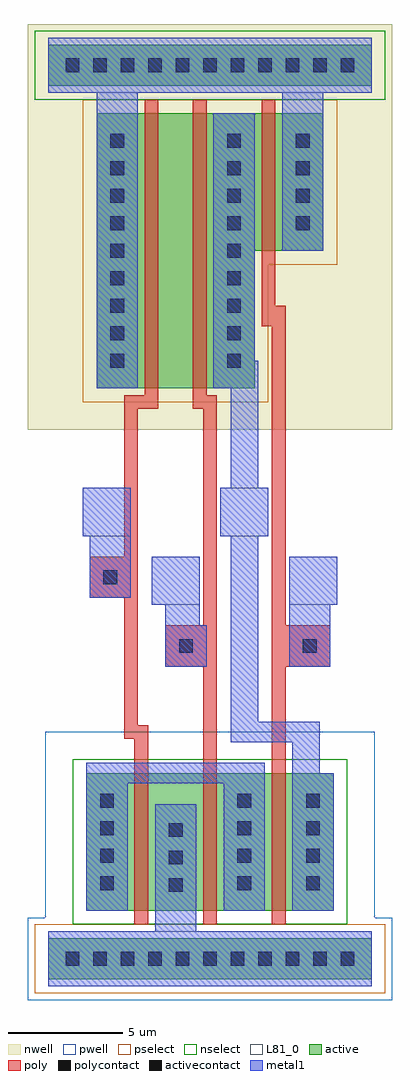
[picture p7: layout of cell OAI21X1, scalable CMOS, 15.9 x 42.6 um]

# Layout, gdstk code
import gdstk
lib = gdstk.Library(unit=1e-6, precision=1e-09)
def R(c, l, rs):  # rectangles x0, y0, x1, y1
    for r in rs: c.add(gdstk.rectangle(r[:2], r[2:], *l))
def A(c, l, x, y, w, h, nx, ny, dx, dy):  # array of equal rectangles
    R(c, l, [(x+i*dx, y+j*dy, x+i*dx+w, y+j*dy+h) for i in range(nx) for j in range(ny)])
pwell = (41, 0)
nwell = (42, 0)
active = (43, 0)
pselect = (44, 0)
nselect = (45, 0)
poly = (46, 0)
polycontact = (47, 0)
activecontact = (48, 0)
metal1 = (49, 0)
L81_0 = (81, 0)

oai21x1 = lib.new_cell('OAI21X1')
R(oai21x1, pwell, [(-1.95,-1.8,13.95,1.8), (-1.2,1.8,13.2,9.9)])
R(oai21x1, nwell, [(-1.95,23.1,13.95,40.8)])
R(oai21x1, active, [(-1.05,-0.9,13.05,0.9), (0.6,2.1,11.4,8.1), (1.05,24.9,7.95,30.9), (1.05,30.9,10.95,36.9), (-1.05,38.1,13.05,39.9)])
R(oai21x1, pselect, [(-1.65,-1.5,13.65,1.5), (0.45,24.3,8.55,30.3), (0.45,30.3,11.55,37.5)])
R(oai21x1, nselect, [(0,1.5,12,8.7), (-1.65,37.5,13.65,40.5)])
R(oai21x1, poly, [(2.7,1.5,3.3,9.6), (5.7,1.5,6.3,12.75), (8.7,1.5,9.3,12.75), (2.25,9.6,3.3,10.2), (2.25,10.2,2.85,15.75), (4.05,12.75,6.3,14.55), (8.7,12.75,11.25,14.55), (5.7,14.55,6.3,24), (8.7,14.55,9.3,27.6), (0.75,15.75,2.85,17.55), (2.25,17.55,2.85,24), (2.25,24,3.75,24.6), (5.25,24,6.3,24.6), (3.15,24.6,3.75,37.5), (5.25,24.6,5.85,37.5), (8.25,27.6,9.3,28.5), (8.25,28.5,8.85,37.5)])
R(oai21x1, polycontact, [(4.65,13.35,5.25,13.95), (10.05,13.35,10.65,13.95), (1.35,16.35,1.95,16.95)])
A(oai21x1, activecontact, -0.3, -0.3, 0.6, 0.6, 11, 2, 1.2, 39)
A(oai21x1, activecontact, 4.2, 2.92, 0.6, 0.6, 1, 3, 0, 1.2)
A(oai21x1, activecontact, 1.2, 3, 0.6, 0.6, 1, 4, 0, 1.2)
A(oai21x1, activecontact, 7.2, 3, 0.6, 0.6, 1, 4, 0, 1.2)
A(oai21x1, activecontact, 10.2, 3, 0.6, 0.6, 1, 4, 0, 1.2)
A(oai21x1, activecontact, 1.65, 25.8, 0.6, 0.6, 1, 9, 0, 1.2)
A(oai21x1, activecontact, 6.75, 25.8, 0.6, 0.6, 1, 9, 0, 1.2)
A(oai21x1, activecontact, 9.75, 31.8, 0.6, 0.6, 1, 4, 0, 1.2)
R(oai21x1, metal1, [(-1.05,-1.2,13.05,1.2), (3.6,1.2,5.4,6.75), (0.6,2.1,2.4,7.65), (6.6,2.1,8.4,7.65), (9.6,2.1,11.4,8.1), (0.6,7.65,8.4,8.55), (9.6,8.1,10.8,9.45), (6.9,9.45,10.8,10.35), (6.9,10.35,8.1,18.45), (4.05,12.75,5.85,14.55), (9.45,12.75,11.25,15.45), (4.05,14.55,5.55,15.45), (3.45,15.45,5.55,17.55), (9.45,15.45,11.55,17.55), (0.75,15.75,2.55,18.45), (0.45,18.45,2.55,20.55), (6.45,18.45,8.55,20.55), (6.9,20.55,8.1,24.9), (1.05,24.9,2.85,37.8), (6.15,24.9,8.1,26.1), (6.15,26.1,7.95,36.9), (9.15,30.9,10.95,37.8), (-1.05,37.8,13.05,40.2)])
R(oai21x1, L81_0, [(-1.05,-1.2,13.05,1.2), (3.45,15.45,5.55,17.55), (9.45,15.45,11.55,17.55), (0.45,18.45,2.55,20.55), (6.45,18.45,8.55,20.55), (-1.05,37.8,13.05,40.2)])

lib.write_gds('OAI21X1.gds')
